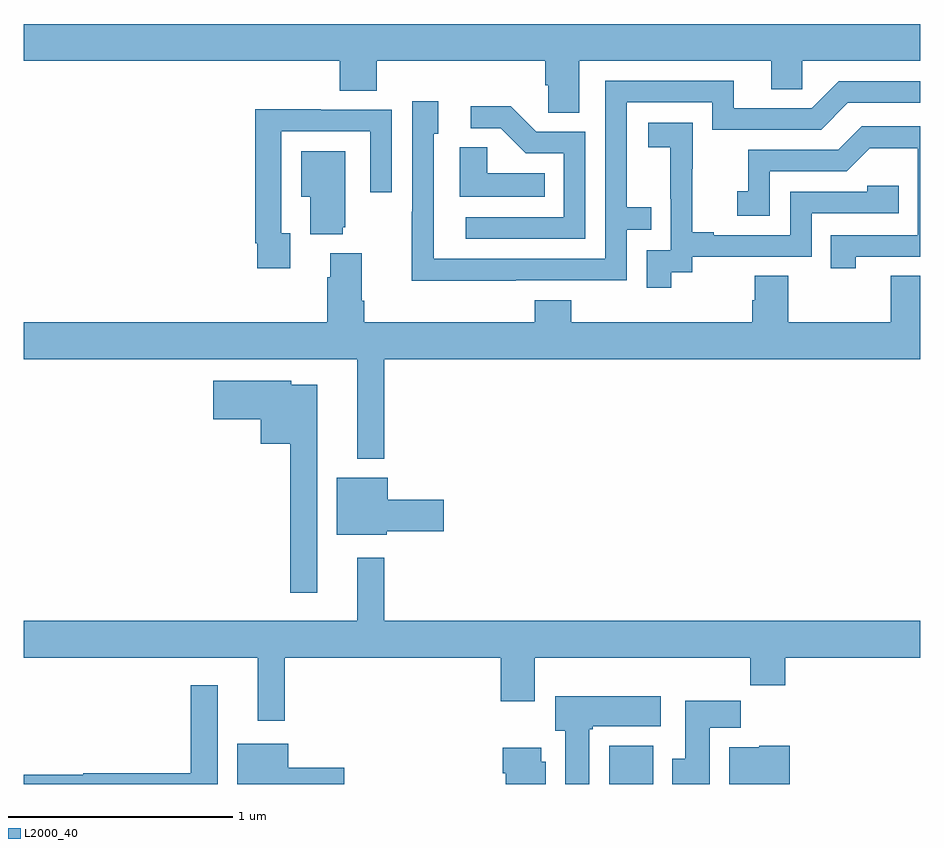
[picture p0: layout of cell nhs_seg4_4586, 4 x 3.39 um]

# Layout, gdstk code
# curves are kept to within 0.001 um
import gdstk
lib = gdstk.Library(unit=1e-6, precision=1e-09)
def R(c, l, rs):  # rectangles x0, y0, x1, y1
    for r in rs: c.add(gdstk.rectangle(r[:2], r[2:], *l))
def P(c, l, *ps):  # polygons
    for p in ps: c.add(gdstk.Polygon(p, *l))
L2000_40 = (2000, 40)

nhs_seg4_4586 = lib.new_cell('nhs_seg4_4586')
R(nhs_seg4_4586, L2000_40, [(359.612,818.9,359.809,819.07)])
P(nhs_seg4_4586, L2000_40, [(359.479,822.128),(360.335,822.128),(360.335,822.001),(360.474,822.001),(360.474,822.128),(361,822.128),(361,822.292),(357,822.292),(357,822.128),(358.409,822.128),(358.409,821.995),(358.574,821.995),(358.574,822.128),(359.327,822.128),(359.327,822.019),(359.34,822.019),(359.34,821.896),(359.479,821.896)],
  [(359.195,821.148),(359.691,821.148),(359.691,821.373),(359.801,821.373),(359.801,821.474),(359.691,821.474),(359.691,821.943),(360.072,821.943),(360.072,821.82),(360.558,821.82),(360.678,821.94),(361,821.94),(361,822.036),(360.636,822.036),(360.516,821.916),(360.169,821.916),(360.169,822.039),(359.595,822.039),(359.595,821.244),(358.83,821.244),(358.83,821.802),(358.849,821.802),(358.849,821.947),(358.734,821.947),(358.734,821.453),(358.732,821.453),(358.732,821.147)],
  [(359.505,821.811),(359.286,821.811),(359.173,821.924),(358.995,821.924),(358.995,821.826),(359.129,821.826),(359.24,821.715),(359.409,821.715),(359.409,821.43),(358.971,821.43),(358.971,821.334),(359.505,821.334)],
  [(358.189,821.358),(358.149,821.358),(358.149,821.814),(358.545,821.814),(358.545,821.541),(358.641,821.541),(358.641,821.91),(358.325,821.91),(358.325,821.912),(358.033,821.912),(358.033,821.314),(358.041,821.314),(358.041,821.202),(358.189,821.202)],
  [(359.89,821.185),(359.982,821.185),(359.982,821.253),(360.516,821.253),(360.516,821.448),(360.905,821.448),(360.905,821.571),(360.765,821.571),(360.765,821.544),(360.42,821.544),(360.42,821.349),(360.079,821.349),(360.079,821.362),(359.984,821.362),(359.984,821.645),(359.985,821.645),(359.985,821.851),(359.787,821.851),(359.787,821.741),(359.885,821.741),(359.885,821.513),(359.886,821.513),(359.886,821.283),(359.781,821.283),(359.781,821.115),(359.89,821.115)],
  [(360.712,821.253),(361,821.253),(361,821.835),(360.74,821.835),(360.635,821.73),(360.232,821.73),(360.232,821.545),(360.183,821.545),(360.183,821.436),(360.33,821.436),(360.33,821.634),(360.672,821.634),(360.776,821.738),(360.99,821.738),(360.99,821.349),(360.601,821.349),(360.601,821.202),(360.712,821.202)],
  [(359.324,821.626),(359.067,821.626),(359.067,821.741),(358.946,821.741),(358.946,821.522),(359.324,821.522)],
  [(358.424,821.385),(358.435,821.385),(358.435,821.725),(358.238,821.725),(358.238,821.522),(358.277,821.522),(358.277,821.354),(358.424,821.354)],
  [(358.609,820.796),(361,820.796),(361,821.168),(360.868,821.168),(360.868,820.96),(360.411,820.96),(360.411,821.168),(360.263,821.168),(360.263,821.058),(360.251,821.058),(360.251,820.96),(359.444,820.96),(359.444,821.059),(359.279,821.059),(359.279,820.96),(358.52,820.96),(358.52,821.056),(358.507,821.056),(358.507,821.269),(358.367,821.269),(358.367,821.162),(358.355,821.162),(358.355,820.96),(357,820.96),(357,820.796),(358.487,820.796),(358.487,820.352),(358.609,820.352)],
  [(358.309,820.681),(358.194,820.681),(358.194,820.699),(357.846,820.699),(357.846,820.529),(358.058,820.529),(358.058,820.418),(358.188,820.418),(358.188,819.753),(358.309,819.753)],
  [(358.62,820.027),(358.873,820.027),(358.873,820.169),(358.624,820.169),(358.624,820.267),(358.397,820.267),(358.397,820.013),(358.62,820.013)],
  [(358.165,819.464),(359.129,819.464),(359.129,819.27),(359.281,819.27),(359.281,819.464),(360.241,819.464),(360.241,819.34),(360.398,819.34),(360.398,819.464),(361,819.464),(361,819.628),(358.609,819.628),(358.609,819.91),(358.487,819.91),(358.487,819.628),(357,819.628),(357,819.464),(358.043,819.464),(358.043,819.183),(358.165,819.183)],
  [(357.865,819.34),(357.744,819.34),(357.744,818.948),(357.265,818.948),(357.265,818.941),(357,818.941),(357,818.9),(357.865,818.9)],
  [(359.524,819.145),(359.538,819.145),(359.538,819.158),(359.842,819.158),(359.842,819.292),(359.372,819.292),(359.372,819.138),(359.417,819.138),(359.417,818.9),(359.524,818.9)],
  [(360.061,819.152),(360.2,819.152),(360.2,819.271),(359.951,819.271),(359.951,819.012),(359.894,819.012),(359.894,818.9),(360.061,818.9)],
  [(358.429,818.973),(358.18,818.973),(358.18,819.079),(357.953,819.079),(357.953,818.9),(358.429,818.9)],
  [(360.418,819.07),(360.282,819.07),(360.282,819.064),(360.149,819.064),(360.149,818.9),(360.418,818.9)],
  [(359.329,819),(359.308,819),(359.308,819.061),(359.138,819.061),(359.138,818.948),(359.15,818.948),(359.15,818.9),(359.329,818.9)])

lib.write_gds('nhs_seg4_4586.gds')
